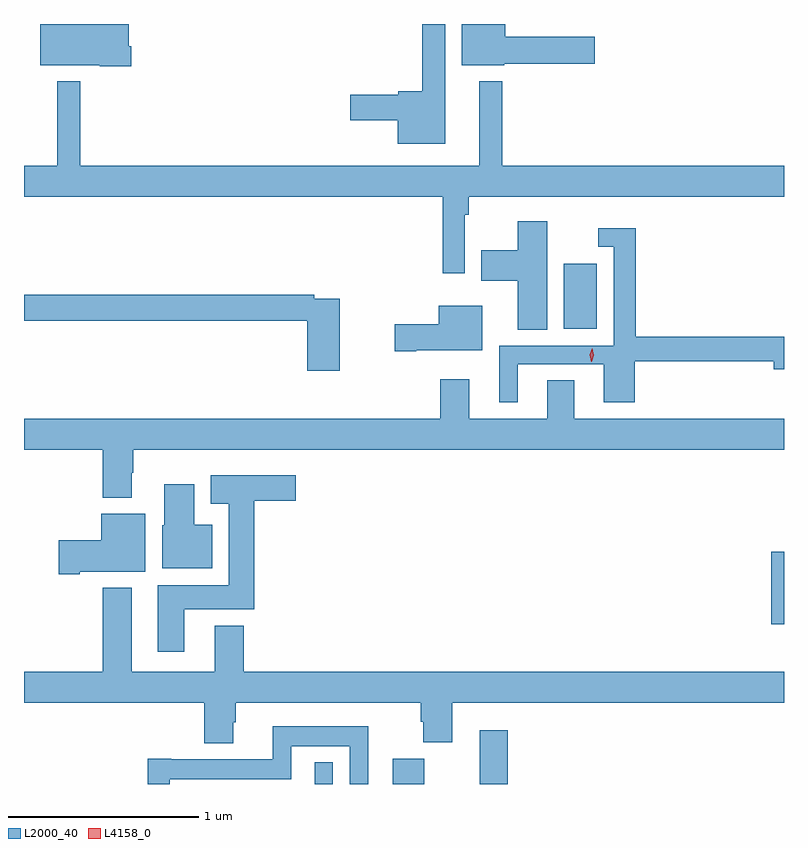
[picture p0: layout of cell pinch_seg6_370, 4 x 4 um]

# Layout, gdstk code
import gdstk
lib = gdstk.Library(unit=1e-6, precision=1e-09)
def R(c, l, rs):  # rectangles x0, y0, x1, y1
    for r in rs: c.add(gdstk.rectangle(r[:2], r[2:], *l))
def P(c, l, *ps):  # polygons
    for p in ps: c.add(gdstk.Polygon(p, *l))
L2000_40 = (2000, 40)
L4158_0 = (4158, 0)

pinch_seg6_370 = lib.new_cell('pinch_seg6_370')
R(pinch_seg6_370, L2000_40, [(671.085,945.577,671.181,945.691), (671.498,945.577,671.662,945.711), (671.954,945.577,672.101,945.859), (673.49,946.419,673.556,946.8), (672.398,947.972,672.571,948.316)])
P(pinch_seg6_370, L2000_40, [(671.773,949.577),(671.652,949.577),(671.652,949.223),(671.526,949.223),(671.526,949.205),(671.274,949.205),(671.274,949.07),(671.522,949.07),(671.522,948.947),(671.773,948.947)],
  [(672.084,949.367),(672.559,949.367),(672.559,949.509),(672.088,949.509),(672.088,949.577),(671.861,949.577),(671.861,949.361),(672.084,949.361)],
  [(670.121,949.459),(670.108,949.459),(670.108,949.577),(669.641,949.577),(669.641,949.361),(669.954,949.361),(669.954,949.355),(670.121,949.355)],
  [(671.877,948.572),(671.897,948.572),(671.897,948.668),(673.556,948.668),(673.556,948.832),(672.073,948.832),(672.073,949.276),(671.951,949.276),(671.951,948.832),(669.853,948.832),(669.853,949.276),(669.731,949.276),(669.731,948.832),(669.556,948.832),(669.556,948.668),(671.761,948.668),(671.761,948.264),(671.877,948.264)],
  [(672.31,948.538),(672.155,948.538),(672.155,948.385),(671.962,948.385),(671.962,948.227),(672.155,948.227),(672.155,947.968),(672.31,947.968)],
  [(672.154,947.787),(672.608,947.787),(672.608,947.586),(672.77,947.586),(672.77,947.802),(673.502,947.802),(673.502,947.759),(673.556,947.759),(673.556,947.93),(672.776,947.93),(672.776,948.502),(672.579,948.502),(672.579,948.405),(672.66,948.405),(672.66,947.883),(672.056,947.883),(672.056,947.586),(672.154,947.586)],
  [(671.218,948.132),(671.084,948.132),(671.084,948.152),(669.556,948.152),(669.556,948.016),(671.048,948.016),(671.048,947.751),(671.218,947.751)],
  [(671.62,947.861),(671.968,947.861),(671.968,948.094),(671.738,948.094),(671.738,947.996),(671.508,947.996),(671.508,947.854),(671.62,947.854)],
  [(670.123,947.216),(670.131,947.216),(670.131,947.336),(673.556,947.336),(673.556,947.5),(672.451,947.5),(672.451,947.702),(672.311,947.702),(672.311,947.5),(671.899,947.5),(671.899,947.707),(671.747,947.707),(671.747,947.5),(669.556,947.5),(669.556,947.336),(669.971,947.336),(669.971,947.084),(670.123,947.084)],
  [(670.399,946.496),(670.769,946.496),(670.769,947.069),(670.987,947.069),(670.987,947.203),(670.539,947.203),(670.539,947.051),(670.634,947.051),(670.634,946.624),(670.259,946.624),(670.259,946.272),(670.399,946.272)],
  [(670.546,946.942),(670.453,946.942),(670.453,947.155),(670.295,947.155),(670.295,946.938),(670.283,946.938),(670.283,946.712),(670.546,946.712)],
  [(669.85,946.694),(670.195,946.694),(670.195,946.999),(669.962,946.999),(669.962,946.86),(669.738,946.86),(669.738,946.682),(669.85,946.682)],
  [(670.657,945.903),(670.67,945.903),(670.67,946.004),(671.645,946.004),(671.645,945.905),(671.657,945.905),(671.657,945.796),(671.81,945.796),(671.81,946.004),(673.556,946.004),(673.556,946.168),(670.712,946.168),(670.712,946.411),(670.559,946.411),(670.559,946.168),(670.123,946.168),(670.123,946.609),(669.971,946.609),(669.971,946.168),(669.556,946.168),(669.556,946.004),(670.505,946.004),(670.505,945.791),(670.657,945.791)],
  [(670.323,945.602),(670.962,945.602),(670.962,945.776),(671.271,945.776),(671.271,945.577),(671.368,945.577),(671.368,945.88),(670.865,945.88),(670.865,945.706),(670.33,945.706),(670.33,945.709),(670.207,945.709),(670.207,945.577),(670.323,945.577)])
P(pinch_seg6_370, L4158_0, [(672.542,947.799),(672.534,947.835),(672.546,947.87),(672.546,947.871),(672.546,947.87),(672.554,947.834),(672.543,947.799),(672.543,947.799)])

lib.write_gds('pinch_seg6_370.gds')
